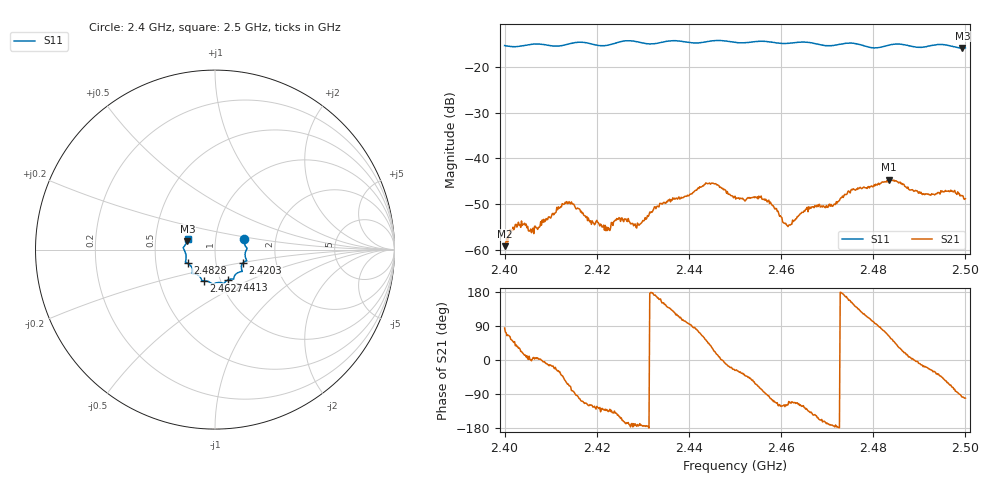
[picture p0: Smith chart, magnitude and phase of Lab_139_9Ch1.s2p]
# Hz S RI R 50
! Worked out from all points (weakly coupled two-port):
!   601 points, 2.4 GHz to 2.5 GHz, reference 50 ohm
!   highest |S21| = -44.63 dB at 2.4833 GHz (marker M1); lowest = -59.2 dB at 2.4 GHz (marker M2)
!   lowest |S11| = -15.8 dB at 2.4993 GHz (marker M3), VSWR 1.38, Z = 36.5 + j3.61 ohm
!   |S11| at or under -10 dB: start of sweep to end of sweep
!   S12 and S22 are empty: the file has one direction only
!   S11 on the Smith chart (normalised r, x): 2.4 GHz: 1.37, +0.17; 2.4203 GHz: 1.35, -0.20; 2.4413 GHz: 1.09, -0.38; 2.4627 GHz: 0.84, -0.30; 2.4828 GHz: 0.73, -0.11; 2.5 GHz: 0.73, +0.09
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2.4e9  0.1616 0.0583  0.000108 0.00109  0 0  0 0
2.402667e9  0.1652 0.0291  0.00144 0.00103  0 0  0 0
2.405833e9  0.1773 0.00947  0.00154 -5.71e-05  0 0  0 0
2.413e9  0.1693 -0.0416  0.00195 -0.00249  0 0  0 0
2.416667e9  0.1765 -0.0622  -0.000838 -0.0025  0 0  0 0
2.420333e9  0.1562 -0.0732  -0.00117 -0.0016  0 0  0 0
2.4225e9  0.1468 -0.093  -0.00126 -0.00121  0 0  0 0
2.4245e9  0.1487 -0.1118  -0.00177 -0.00122  0 0  0 0
2.429e9  0.1423 -0.1231  -0.00188 -0.0002  0 0  0 0
2.433333e9  0.1078 -0.1478  -0.00286 0.000818  0 0  0 0
2.441333e9  0.0751 -0.1675  0.000417 0.00442  0 0  0 0
2.445333e9  0.0509 -0.1875  0.00481 0.00233  0 0  0 0
2.45e9  0.0304 -0.1838  0.00342 -0.00178  0 0  0 0
2.455667e9  -0.0112 -0.1914  0.000873 -0.00378  0 0  0 0
2.461e9  -0.0475 -0.1749  -0.000919 -0.00172  0 0  0 0
2.462667e9  -0.0614 -0.1738  -0.000798 -0.00187  0 0  0 0
2.466667e9  -0.0743 -0.1683  -0.00226 -0.00191  0 0  0 0
2.482833e9  -0.1529 -0.0767  0.00181 0.00522  0 0  0 0
2.483333e9  -0.1564 -0.075  0.00257 0.00527  0 0  0 0
2.491e9  -0.1648 -0.0172  0.00392 -0.00111  0 0  0 0
2.499333e9  -0.154 0.0481  -0.000545 -0.00388  0 0  0 0
2.5e9  -0.1521 0.0571  -0.000662 -0.00356  0 0  0 0
